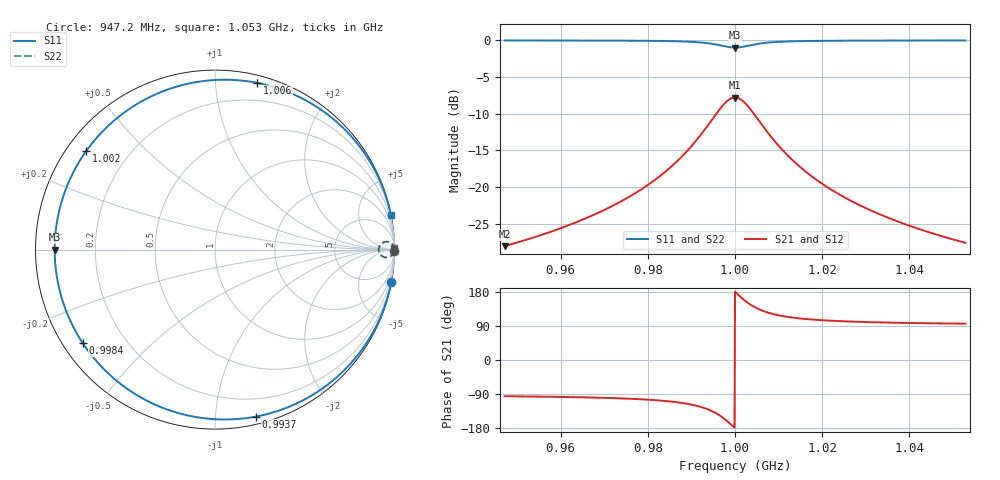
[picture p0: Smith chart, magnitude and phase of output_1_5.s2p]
! File generated for n1 = 1, n2 = 5
! b1 = 100.000000
! b2 = 4.641589
! Q0 = 10000.000000
! f0 = 1000000000.000000
! n = 1001
! rel_span = 10.000000
# Hz S RI R 50
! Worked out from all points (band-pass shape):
!   1001 points, 947.2 MHz to 1.053 GHz, reference 50 ohm
!   highest |S21| = -7.79 dB at 1 GHz (marker M1); lowest = -28.1 dB at 947.2 MHz (marker M2)
!   |S21| within 3 dB of the highest: 994.7 MHz to 1.005 GHz (10.54 MHz wide, 1.05 % of centre)
!   lowest |S11| = -1.0 dB at 1 GHz (marker M3), VSWR 17.73, Z = 2.82 + j0 ohm
!   |S11| at or under -10 dB: nowhere
!   |S22| runs from -0.8 to 0.0 dB; largest |S21 - S12| = 0
!   S11 on the Smith chart (normalised r, x): 947.2 MHz: 0, -11; 993.7 MHz: 0.06, -1.27; 998.4 MHz: 0.06, -0.32; 1.002 GHz: 0.06, +0.34; 1.006 GHz: 0.06, +1.28; 1.053 GHz: 0, +10
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9.471792e8  0.9822 -0.1825  -0.00382 -0.0393  -0.00382 -0.0393  0.9992 -0.00847
9.648214e8  0.9597 -0.2732  -0.00868 -0.0589  -0.00868 -0.0589  0.9981 -0.0127
9.748573e8  0.9219 -0.3765  -0.0168 -0.0811  -0.0168 -0.0811  0.9964 -0.0175
9.824635e8  0.8451 -0.5189  -0.0334 -0.1118  -0.0334 -0.1118  0.9928 -0.0241
9.892246e8  0.6364 -0.7457  -0.0783 -0.1607  -0.0783 -0.1607  0.9831 -0.0346
9.916543e8  0.4618 -0.854  -0.116 -0.184  -0.116 -0.184  0.975 -0.0396
9.936615e8  0.227 -0.9305  -0.1665 -0.2005  -0.1665 -0.2005  0.9641 -0.0432
9.963025e8  -0.269 -0.89  -0.2734 -0.1917  -0.2734 -0.1917  0.9411 -0.0413
9.97359e8  -0.5138 -0.7579  -0.3261 -0.1633  -0.3261 -0.1633  0.9297 -0.0352
9.984154e8  -0.7366 -0.5214  -0.3741 -0.1123  -0.3741 -0.1123  0.9194 -0.0242
1e9  -0.8932 0  -0.4079 0  -0.4079 0  0.9121 0
1.000845e9  -0.846 0.2952  -0.3977 0.0636  -0.3977 0.0636  0.9143 0.0137
1.00169e9  -0.7176 0.5492  -0.37 0.1183  -0.37 0.1183  0.9203 0.0255
1.002641e9  -0.5154 0.7567  -0.3265 0.163  -0.3265 0.163  0.9297 0.0351
1.003697e9  -0.2721 0.8889  -0.2741 0.1915  -0.2741 0.1915  0.941 0.0413
1.00486e9  -0.0276 0.9431  -0.2214 0.2032  -0.2214 0.2032  0.9523 0.0438
1.006444e9  0.2363 0.9288  -0.1645 0.2001  -0.1645 0.2001  0.9646 0.0431
1.008451e9  0.465 0.8524  -0.1153 0.1837  -0.1153 0.1837  0.9752 0.0396
1.010881e9  0.6358 0.7462  -0.0785 0.1608  -0.0785 0.1608  0.9831 0.0346
1.017642e9  0.8417 0.524  -0.0341 0.1129  -0.0341 0.1129  0.9927 0.0243
1.035284e9  0.9571 0.2818  -0.00925 0.0607  -0.00925 0.0607  0.998 0.0131
1.052821e9  0.9803 0.1922  -0.00425 0.0414  -0.00425 0.0414  0.9991 0.00892
